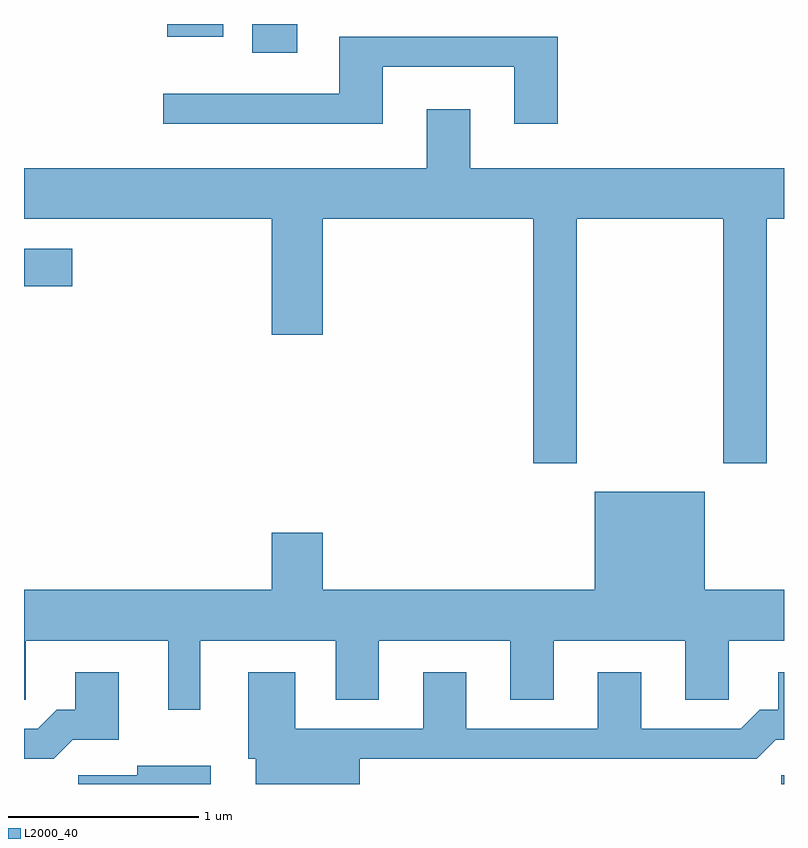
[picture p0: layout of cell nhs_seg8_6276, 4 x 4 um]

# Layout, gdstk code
import gdstk
lib = gdstk.Library(unit=1e-6, precision=1e-09)
def R(c, l, rs):  # rectangles x0, y0, x1, y1
    for r in rs: c.add(gdstk.rectangle(r[:2], r[2:], *l))
def P(c, l, *ps):  # polygons
    for p in ps: c.add(gdstk.Polygon(p, *l))
L2000_40 = (2000, 40)

nhs_seg8_6276 = lib.new_cell('nhs_seg8_6276')
R(nhs_seg8_6276, L2000_40, [(377.596,1822.342,377.611,1822.389), (373.611,1824.961,373.864,1825.159), (374.811,1826.191,375.048,1826.342), (374.366,1826.276,374.659,1826.342)])
P(nhs_seg8_6276, L2000_40, [(375.499,1826.116),(376.191,1826.116),(376.191,1825.816),(376.419,1825.816),(376.419,1826.274),(375.271,1826.274),(375.271,1825.974),(374.343,1825.974),(374.343,1825.816),(375.499,1825.816)],
  [(376.519,1825.316),(377.291,1825.316),(377.291,1824.031),(377.519,1824.031),(377.519,1825.316),(377.611,1825.316),(377.611,1825.584),(375.959,1825.584),(375.959,1825.894),(375.731,1825.894),(375.731,1825.584),(373.611,1825.584),(373.611,1825.316),(374.916,1825.316),(374.916,1824.706),(375.184,1824.706),(375.184,1825.316),(376.291,1825.316),(376.291,1824.031),(376.519,1824.031)],
  [(376.616,1823.364),(375.184,1823.364),(375.184,1823.664),(374.916,1823.664),(374.916,1823.364),(373.611,1823.364),(373.611,1822.786),(373.619,1822.786),(373.619,1823.096),(374.371,1823.096),(374.371,1822.733),(374.539,1822.733),(374.539,1823.096),(375.251,1823.096),(375.251,1822.786),(375.479,1822.786),(375.479,1823.096),(376.171,1823.096),(376.171,1822.786),(376.399,1822.786),(376.399,1823.096),(377.091,1823.096),(377.091,1822.786),(377.319,1822.786),(377.319,1823.096),(377.611,1823.096),(377.611,1823.364),(377.194,1823.364),(377.194,1823.879),(376.616,1823.879)],
  [(375.379,1822.476),(377.467,1822.476),(377.567,1822.576),(377.611,1822.576),(377.611,1822.929),(377.581,1822.929),(377.581,1822.734),(377.484,1822.734),(377.384,1822.634),(376.859,1822.634),(376.859,1822.929),(376.631,1822.929),(376.631,1822.634),(375.939,1822.634),(375.939,1822.929),(375.711,1822.929),(375.711,1822.634),(375.039,1822.634),(375.039,1822.929),(374.791,1822.929),(374.791,1822.476),(374.831,1822.476),(374.831,1822.342),(375.379,1822.342)],
  [(373.867,1822.576),(374.109,1822.576),(374.109,1822.929),(373.881,1822.929),(373.881,1822.734),(373.784,1822.734),(373.684,1822.634),(373.611,1822.634),(373.611,1822.476),(373.767,1822.476)],
  [(374.594,1822.439),(374.206,1822.439),(374.206,1822.389),(373.896,1822.389),(373.896,1822.342),(374.594,1822.342)])

lib.write_gds('nhs_seg8_6276.gds')
